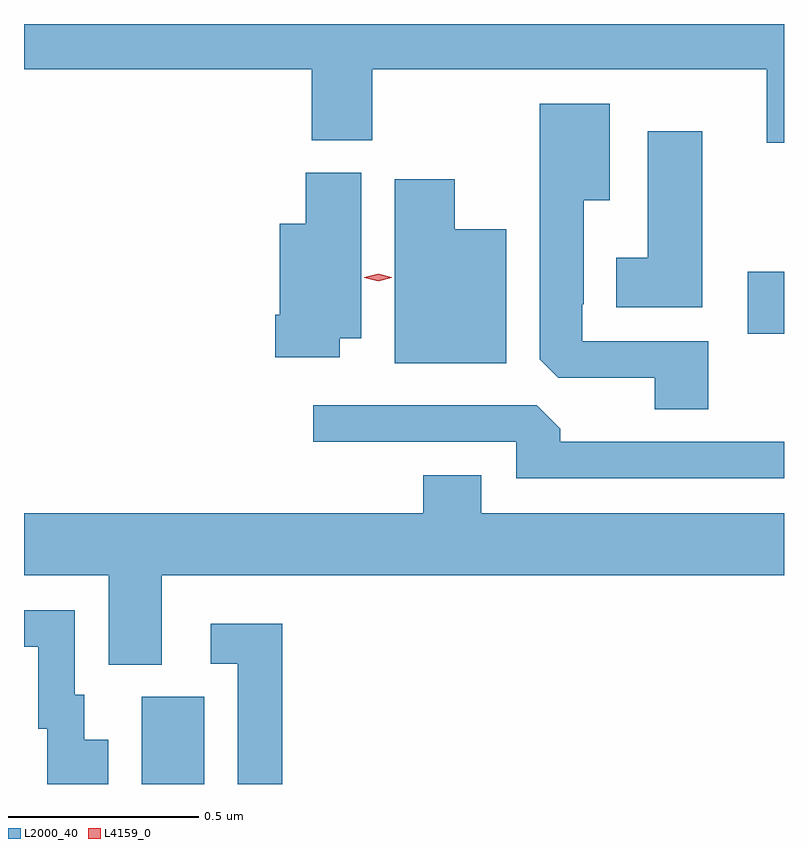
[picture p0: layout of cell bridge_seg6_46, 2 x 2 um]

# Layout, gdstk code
import gdstk
lib = gdstk.Library(unit=1e-6, precision=1e-09)
def R(c, l, rs):  # rectangles x0, y0, x1, y1
    for r in rs: c.add(gdstk.rectangle(r[:2], r[2:], *l))
def P(c, l, *ps):  # polygons
    for p in ps: c.add(gdstk.Polygon(p, *l))
L2000_40 = (2000, 40)
L4159_0 = (4159, 0)

bridge_seg6_46 = lib.new_cell('bridge_seg6_46')
R(bridge_seg6_46, L2000_40, [(1054.472,981.419,1054.636,981.648), (1056.066,982.604,1056.162,982.767)])
P(bridge_seg6_46, L2000_40, [(1056.162,983.419),(1054.162,983.419),(1054.162,983.3),(1054.919,983.3),(1054.919,983.113),(1055.079,983.113),(1055.079,983.3),(1056.116,983.3),(1056.116,983.106),(1056.162,983.106)],
  [(1055.962,982.584),(1055.631,982.584),(1055.631,982.681),(1055.635,982.681),(1055.635,982.955),(1055.704,982.955),(1055.704,983.209),(1055.519,983.209),(1055.519,982.537),(1055.568,982.488),(1055.822,982.488),(1055.822,982.405),(1055.962,982.405)],
  [(1055.947,983.137),(1055.804,983.137),(1055.804,982.804),(1055.72,982.804),(1055.72,982.673),(1055.947,982.673)],
  [(1054.993,982.592),(1055.05,982.592),(1055.05,983.028),(1054.904,983.028),(1054.904,982.894),(1054.835,982.894),(1054.835,982.654),(1054.823,982.654),(1054.823,982.542),(1054.993,982.542)],
  [(1055.431,982.879),(1055.296,982.879),(1055.296,983.011),(1055.138,983.011),(1055.138,982.526),(1055.431,982.526)],
  [(1056.162,982.32),(1055.573,982.32),(1055.573,982.354),(1055.511,982.416),(1054.923,982.416),(1054.923,982.32),(1055.457,982.32),(1055.457,982.224),(1056.162,982.224)],
  [(1054.525,981.968),(1056.162,981.968),(1056.162,982.132),(1055.365,982.132),(1055.365,982.231),(1055.213,982.231),(1055.213,982.132),(1054.162,982.132),(1054.162,981.968),(1054.385,981.968),(1054.385,981.733),(1054.525,981.733)],
  [(1054.384,981.535),(1054.321,981.535),(1054.321,981.654),(1054.296,981.654),(1054.296,981.876),(1054.162,981.876),(1054.162,981.78),(1054.199,981.78),(1054.199,981.564),(1054.223,981.564),(1054.223,981.419),(1054.384,981.419)],
  [(1054.841,981.841),(1054.653,981.841),(1054.653,981.735),(1054.725,981.735),(1054.725,981.419),(1054.841,981.419)])
P(bridge_seg6_46, L4159_0, [(1055.094,982.742),(1055.057,982.751),(1055.057,982.752),(1055.057,982.752),(1055.094,982.762),(1055.13,982.752),(1055.13,982.751),(1055.13,982.751)])

lib.write_gds('bridge_seg6_46.gds')
